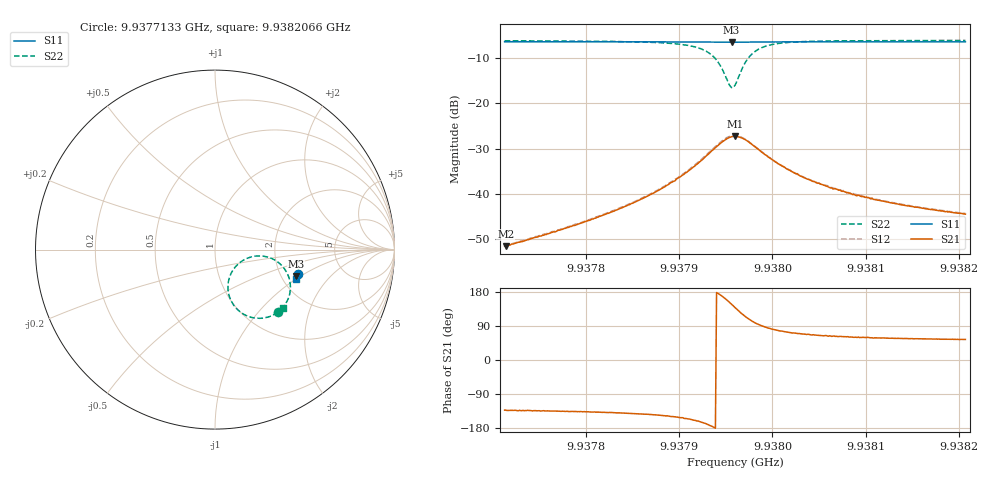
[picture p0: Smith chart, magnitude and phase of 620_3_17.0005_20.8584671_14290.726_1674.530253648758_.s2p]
#  HZ  S  RI  R  50.00
! Rohde & Schwarz Vector Network Analyzer
! Rohde-Schwarz,ZNB20-2Port,1311601062101988,3.16
! Created: UTC 3/20/2024, 11:19:54 PM
! freq[Hz]  re:S11  im:S11  re:S21  im:S21  re:S12  im:S12  re:S22  im:S22
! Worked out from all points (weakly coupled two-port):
!   401 points, 9.9377133 GHz to 9.9382066 GHz, reference 50 ohm
!   highest |S21| = -27.29 dB at 9.9379599 GHz (marker M1); lowest = -51.6 dB at 9.9377145 GHz (marker M2)
!   lowest |S11| = -6.5 dB at 9.9379562 GHz (marker M3), VSWR 2.81, Z = 120 - j46.2 ohm
!   |S11| at or under -10 dB: nowhere
!   |S22| runs from -16.5 to -6.1 dB; largest |S21 - S12| = 0.0021
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9.93771331e9  0.4624 -0.1353  -0.00177 -0.00195  -0.00181 -0.0019  0.3504 -0.3483
9.93771455e9  0.4624 -0.1355  -0.00177 -0.00194  -0.00186 -0.00193  0.3502 -0.3483
9.93779593e9  0.4602 -0.1409  -0.00343 -0.00329  -0.00351 -0.00327  0.3312 -0.3605
9.93784156e9  0.4589 -0.1443  -0.0055 -0.0046  -0.00567 -0.00462  0.3105 -0.3705
9.93787855e9  0.4576 -0.147  -0.00905 -0.00619  -0.00933 -0.0062  0.2781 -0.3799
9.93791185e9  0.4558 -0.1495  -0.0169 -0.00741  -0.0175 -0.00716  0.2116 -0.3796
9.93793034e9  0.4542 -0.1505  -0.0264 -0.00484  -0.0272 -0.00436  0.1379 -0.3452
9.93794144e9  0.4528 -0.1506  -0.0341 0.00218  -0.035 0.00331  0.086 -0.2772
9.93794884e9  0.452 -0.1501  -0.0375 0.0113  -0.0382 0.0129  0.0723 -0.1975
9.93795377e9  0.4517 -0.1495  -0.0372 0.0191  -0.0374 0.0211  0.0887 -0.1346
9.93795624e9  0.4517 -0.1491  -0.0359 0.0232  -0.0358 0.025  0.1063 -0.1054
9.93795994e9  0.452 -0.1487  -0.0323 0.0287  -0.0319 0.0304  0.1438 -0.0683
9.9379661e9  0.4527 -0.1482  -0.0237 0.0345  -0.0228 0.0359  0.2216 -0.0368
9.93797227e9  0.4536 -0.1481  -0.0147 0.036  -0.0137 0.0369  0.2951 -0.0419
9.93797843e9  0.4542 -0.1485  -0.00734 0.0341  -0.00638 0.0346  0.3487 -0.0685
9.9379846e9  0.4549 -0.1491  -0.00237 0.0311  -0.00136 0.0313  0.3826 -0.1009
9.93800433e9  0.4553 -0.1513  0.00421 0.0218  0.00493 0.0217  0.4185 -0.1852
9.93802283e9  0.4551 -0.1531  0.00545 0.0162  0.00595 0.0162  0.4188 -0.2308
9.93804256e9  0.4547 -0.1549  0.00558 0.0126  0.00584 0.0126  0.4129 -0.2593
9.93808818e9  0.4536 -0.1584  0.00484 0.00841  0.005 0.00846  0.3988 -0.2933
9.93812518e9  0.4525 -0.1609  0.00431 0.00673  0.00449 0.00674  0.3901 -0.3074
9.93820656e9  0.4504 -0.1664  0.00347 0.00482  0.00362 0.00482  0.3769 -0.3251
